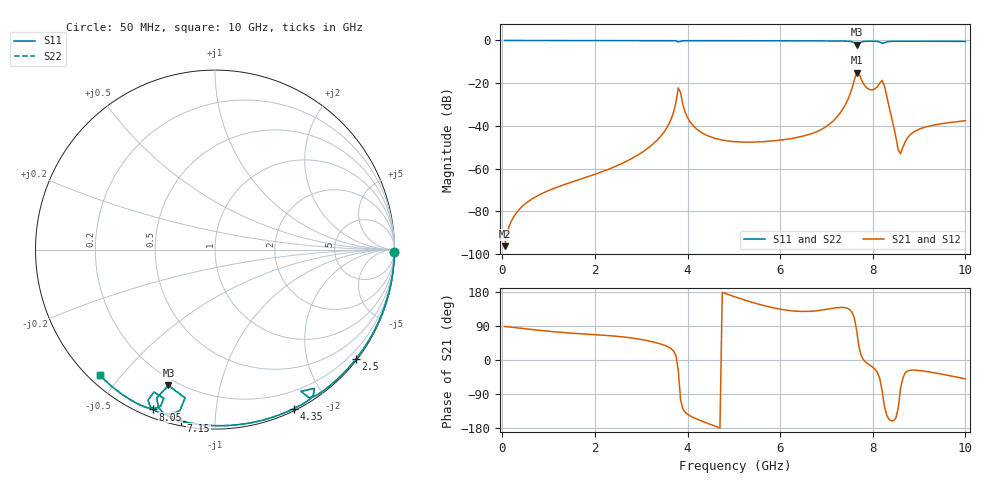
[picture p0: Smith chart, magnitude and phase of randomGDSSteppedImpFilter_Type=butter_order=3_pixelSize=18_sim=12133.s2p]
! freq	dB(S11)	phase(S11)	dB(S12)	phase(S12)
!  dB(S21)	phase(S21)	dB(S22)	phase(S22)
!S-par simulation data
#  GHz  S  DB  R 50
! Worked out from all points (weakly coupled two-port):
!   200 points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, 50 MHz to 10 GHz, reference 50 ohm
!   highest |S21| = -15.00 dB at 7.65 GHz (marker M1); lowest = -96.3 dB at 50 MHz (marker M2)
!   lowest |S11| = -1.9 dB at 7.65 GHz (marker M3), VSWR 9.01, Z = 8.33 - j35 ohm
!   |S11| at or under -10 dB: nowhere
!   |S22| runs from -1.9 to 0.0 dB; largest |S21 - S12| = 0
!   S11 on the Smith chart (normalised r, x): 50 MHz: open; 2.5 GHz: 0.03, -2.92; 4.35 GHz: 0.02, -1.61; 7.15 GHz: 0.02, -0.82; 8.05 GHz: 0.03, -0.69; 10 GHz: 0.03, -0.44
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0.05  -0.00 -0.8  -96.29 88.3  -96.29 88.3  -0.00 -0.8
0.3  -0.01 -4.6  -80.83 85.2  -80.83 85.2  -0.00 -4.6
1.75  -0.03 -26.7  -64.49 68.7  -64.49 68.7  -0.03 -26.7
2.5  -0.05 -37.8  -58.45 62.3  -58.45 62.3  -0.05 -37.8
3.4  -0.07 -51.1  -45.39 42.9  -45.39 42.9  -0.07 -51.1
3.65  -0.09 -55.1  -36.62 29.3  -36.62 29.3  -0.09 -55.1
3.8  -0.69 -58.7  -22.23 -27.1  -22.23 -27.1  -0.69 -58.7
4  -0.10 -58.3  -36.09 -143.3  -36.09 -143.3  -0.10 -58.3
4.35  -0.09 -63.6  -43.71 -163.3  -43.71 -163.3  -0.09 -63.6
5.05  -0.11 -73.3  -47.42 165.7  -47.42 165.7  -0.11 -73.3
6.7  -0.19 -95.1  -43.49 128.8  -43.49 128.8  -0.19 -95.1
7.15  -0.23 -101.3  -37.56 136.8  -37.56 136.8  -0.23 -101.3
7.45  -0.35 -106.7  -28.22 136.5  -28.22 136.5  -0.35 -106.7
7.65  -1.94 -108.9  -15.00 79.2  -15.00 79.2  -1.94 -108.9
7.85  -0.40 -106.0  -21.77 -6.1  -21.77 -6.1  -0.40 -105.9
8.05  -0.40 -111.1  -22.65 -24.5  -22.65 -24.5  -0.40 -111.1
8.2  -1.27 -113.2  -18.65 -79.9  -18.65 -79.9  -1.27 -113.2
8.35  -0.51 -110.4  -30.83 -156.4  -30.83 -156.4  -0.51 -110.4
8.55  -0.36 -114.3  -51.24 -126.3  -51.24 -126.3  -0.36 -114.3
8.6  -0.35 -115.1  -53.05 -75.0  -53.05 -75.0  -0.35 -115.1
8.9  -0.35 -119.2  -42.63 -26.7  -42.63 -26.7  -0.35 -119.2
10  -0.45 -132.6  -37.57 -49.8  -37.57 -49.8  -0.45 -132.6
